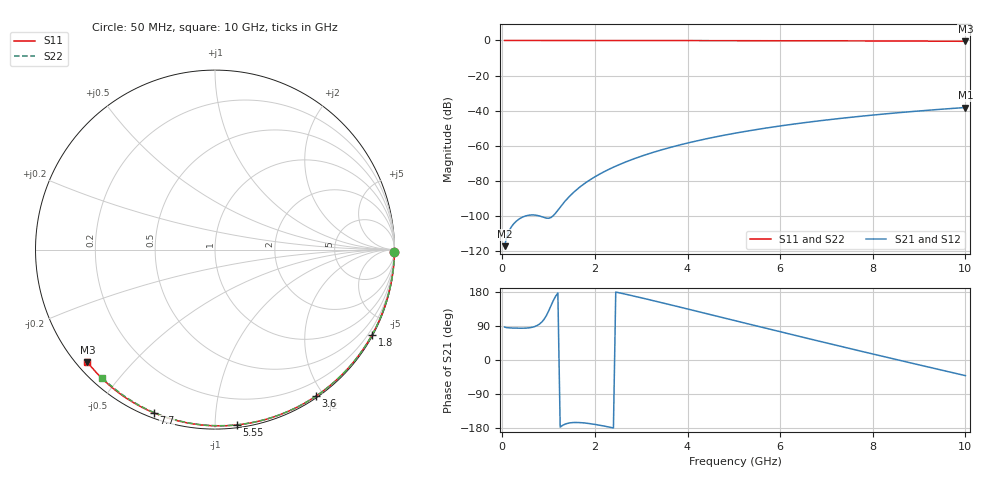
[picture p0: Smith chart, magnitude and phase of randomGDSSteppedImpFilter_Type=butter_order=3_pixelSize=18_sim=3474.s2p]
! freq	dB(S11)	phase(S11)	dB(S12)	phase(S12)
!  dB(S21)	phase(S21)	dB(S22)	phase(S22)
!S-par simulation data
#  GHz  S  DB  R 50
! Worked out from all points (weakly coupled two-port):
!   200 points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, 50 MHz to 10 GHz, reference 50 ohm
!   highest |S21| = -38.16 dB at 10 GHz (marker M1); lowest = -117.1 dB at 50 MHz (marker M2)
!   lowest |S11| = -0.5 dB at 10 GHz (marker M3), VSWR 36.97, Z = 1.55 - j18.9 ohm
!   |S11| at or under -10 dB: nowhere
!   |S22| runs from -0.4 to 0.0 dB; largest |S21 - S12| = 0
!   S11 on the Smith chart (normalised r, x): 50 MHz: open; 1.8 GHz: 0.03, -3.95; 3.6 GHz: 0.02, -1.90; 5.55 GHz: 0.02, -1.13; 7.7 GHz: 0.02, -0.69; 10 GHz: 0.03, -0.38
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0.05  -0.00 -0.8  -117.07 86.8  -117.07 86.8  -0.00 -0.8
0.45  -0.01 -7.2  -100.38 83.9  -100.38 83.9  -0.01 -6.8
0.9  -0.02 -14.3  -100.75 107.0  -100.75 107.0  -0.02 -13.6
1.75  -0.04 -27.6  -81.92 -165.9  -81.92 -165.9  -0.03 -26.2
1.8  -0.04 -28.4  -80.97 -166.5  -80.97 -166.5  -0.03 -26.9
1.85  -0.04 -29.2  -80.08 -167.2  -80.08 -167.2  -0.04 -27.7
2.15  -0.04 -33.8  -75.37 -173.2  -75.37 -173.2  -0.04 -32.0
2.35  -0.05 -36.9  -72.73 -178.1  -72.73 -178.1  -0.04 -34.9
2.55  -0.05 -39.9  -70.38 176.7  -70.38 176.7  -0.05 -37.8
2.95  -0.06 -45.9  -66.34 165.6  -66.34 165.6  -0.06 -43.5
3.4  -0.07 -52.6  -62.55 152.5  -62.55 152.5  -0.07 -49.9
3.6  -0.07 -55.5  -61.07 146.6  -61.07 146.6  -0.07 -52.6
3.9  -0.08 -59.8  -59.02 137.7  -59.02 137.7  -0.08 -56.8
4.3  -0.09 -65.6  -56.57 125.7  -56.57 125.7  -0.09 -62.2
5.05  -0.12 -76.0  -52.66 103.1  -52.66 103.1  -0.11 -72.2
5.55  -0.14 -82.8  -50.44 88.1  -50.44 88.1  -0.13 -78.6
6.1  -0.16 -90.1  -48.28 71.7  -48.28 71.7  -0.15 -85.6
6.7  -0.19 -97.9  -46.20 53.9  -46.20 53.9  -0.18 -93.0
7.7  -0.25 -110.5  -43.24 24.5  -43.24 24.5  -0.24 -105.0
8.35  -0.30 -118.6  -41.60 5.7  -41.60 5.7  -0.29 -112.6
9.2  -0.38 -128.9  -39.70 -18.6  -39.70 -18.6  -0.36 -122.4
10  -0.47 -138.6  -38.16 -41.2  -38.16 -41.2  -0.44 -131.4
